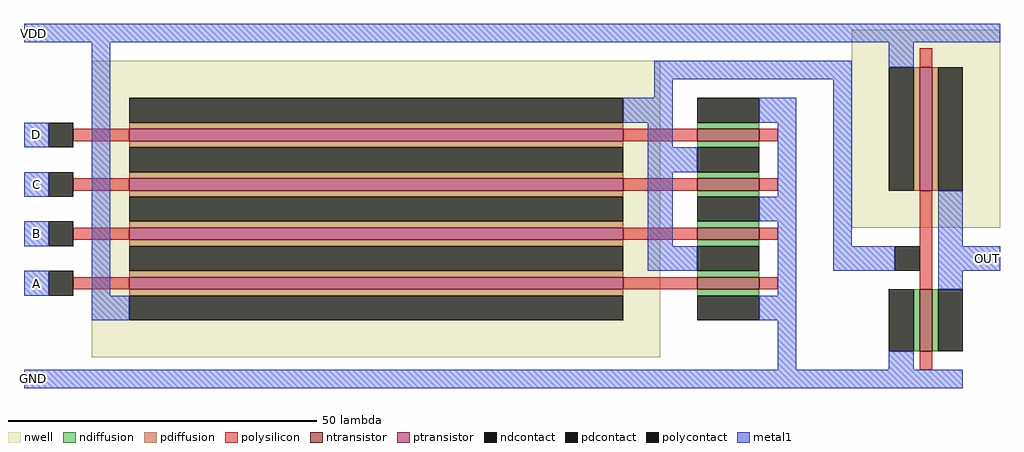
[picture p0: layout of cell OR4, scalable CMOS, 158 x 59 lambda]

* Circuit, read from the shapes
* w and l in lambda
.subckt OR4 A B C D GND OUT VDD
M1 n1 A GND VSUBS nfet w=10 l=2
M2 GND B n1 VSUBS nfet w=10 l=2
M3 n1 C GND VSUBS nfet w=10 l=2
M4 GND D n1 VSUBS nfet w=10 l=2
M5 OUT n1 GND VSUBS nfet w=10 l=2
M6 n2 A VDD n3 pfet w=80 l=2
M7 n4 B n2 n3 pfet w=80 l=2
M8 n5 C n4 n3 pfet w=80 l=2
M9 n1 D n5 n3 pfet w=80 l=2
M10 OUT n1 VDD n6 pfet w=20 l=2
.ends

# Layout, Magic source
magic
tech scmos
<< nwell >>
rect 10 0 102 48
rect 133 21 157 53
<< ntransistor >>
rect 108 35 118 37
rect 108 27 118 29
rect 108 19 118 21
rect 108 11 118 13
rect 144 1 146 11
<< ptransistor >>
rect 16 35 96 37
rect 16 27 96 29
rect 144 27 146 47
rect 16 19 96 21
rect 16 11 96 13
<< ndiffusion >>
rect 108 37 118 38
rect 108 34 118 35
rect 108 29 118 30
rect 108 26 118 27
rect 108 21 118 22
rect 108 18 118 19
rect 108 13 118 14
rect 108 10 118 11
rect 143 1 144 11
rect 146 1 147 11
<< pdiffusion >>
rect 16 37 96 38
rect 16 34 96 35
rect 16 29 96 30
rect 143 27 144 47
rect 146 27 147 47
rect 16 26 96 27
rect 16 21 96 22
rect 16 18 96 19
rect 16 13 96 14
rect 16 10 96 11
<< ndcontact >>
rect 108 38 118 42
rect 108 30 118 34
rect 108 22 118 26
rect 108 14 118 18
rect 108 6 118 10
rect 139 1 143 11
rect 147 1 151 11
<< pdcontact >>
rect 16 38 96 42
rect 16 30 96 34
rect 139 27 143 47
rect 147 27 151 47
rect 16 22 96 26
rect 16 14 96 18
rect 16 6 96 10
<< polysilicon >>
rect 144 47 146 50
rect 7 35 16 37
rect 96 35 108 37
rect 118 35 121 37
rect 7 27 16 29
rect 96 27 108 29
rect 118 27 121 29
rect 7 19 16 21
rect 96 19 108 21
rect 118 19 121 21
rect 7 11 16 13
rect 96 11 108 13
rect 118 11 121 13
rect 144 11 146 27
rect 144 -2 146 1
<< polycontact >>
rect 3 34 7 38
rect 3 26 7 30
rect 3 18 7 22
rect 3 10 7 14
rect 140 14 144 18
<< metal1 >>
rect -1 51 157 54
rect -1 34 3 38
rect -1 26 3 30
rect -1 18 3 22
rect -1 10 3 14
rect 10 10 13 51
rect 101 45 133 48
rect 101 42 104 45
rect 96 38 104 42
rect 118 38 124 42
rect 100 34 104 38
rect 100 30 108 34
rect 100 18 104 30
rect 121 26 124 38
rect 118 22 124 26
rect 100 14 108 18
rect 121 10 124 22
rect 130 18 133 45
rect 139 47 143 51
rect 147 18 151 27
rect 130 14 140 18
rect 147 14 157 18
rect 147 11 151 14
rect 10 6 16 10
rect 118 6 124 10
rect 121 -2 124 6
rect 139 -2 143 1
rect -1 -5 151 -2
<< labels >>
rlabel metal1 -1 10 3 14 3 A
rlabel metal1 -1 18 3 22 3 B
rlabel metal1 -1 26 3 30 3 C
rlabel metal1 -1 34 3 38 3 D
rlabel metal1 153 14 157 18 7 OUT
rlabel metal1 -1 51 2 54 4 VDD
rlabel metal1 -1 -5 2 -2 2 GND
<< end >>
